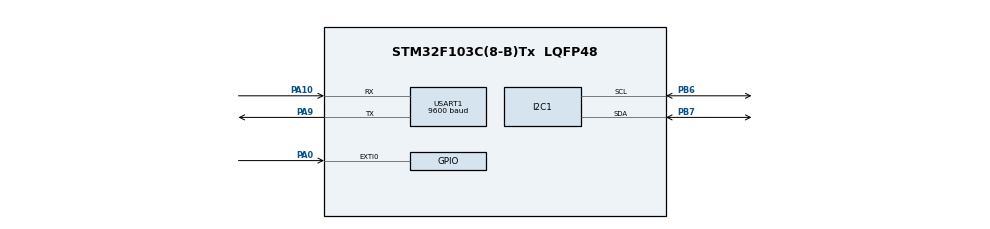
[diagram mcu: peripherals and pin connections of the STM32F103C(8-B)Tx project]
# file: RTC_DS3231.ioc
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Mcu.Family=STM32F1
Mcu.Name=STM32F103C(8-B)Tx
Mcu.Package=LQFP48
NVIC.I2C1_ER_IRQn=true\:0\:0\:false\:false\:true\:true
NVIC.I2C1_EV_IRQn=true\:0\:0\:false\:false\:true\:true
NVIC.PriorityGroup=NVIC_PRIORITYGROUP_4
NVIC.USART1_IRQn=true\:0\:0\:false\:false\:true\:true
PA0-WKUP.GPIO_ModeDefaultEXTI=GPIO_MODE_IT_FALLING
PA0-WKUP.GPIO_PuPd=GPIO_PULLUP
PA0-WKUP.Signal=GPXTI0
PA10.Mode=Asynchronous
PA10.Signal=USART1_RX
PA13.Mode=Serial_Wire
PA13.Signal=SYS_JTMS-SWDIO
PA14.Mode=Serial_Wire
PA14.Signal=SYS_JTCK-SWCLK
PA9.Mode=Asynchronous
PA9.Signal=USART1_TX
PB6.Mode=I2C
PB6.Signal=I2C1_SCL
PB7.Mode=I2C
PB7.Signal=I2C1_SDA
ProjectManager.HeapSize=0x200
ProjectManager.StackSize=0x400
ProjectManager.TargetToolchain=MDK-ARM V5
RCC.APB1Freq_Value=8000000
RCC.APB2Freq_Value=8000000
USART1.BaudRate=9600
USART1.VirtualMode=VM_ASYNC
board=RTC_DS3231

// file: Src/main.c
/**
  ******************************************************************************
  * @file           : main.c
  * @brief          : Main program body
  ******************************************************************************
  ** This notice applies to any and all portions of this file
  * that are not between comment pairs USER CODE BEGIN and
  * USER CODE END. Other portions of this file, whether
  * inserted by the user or by software development tools
  * are owned by their respective copyright owners.
  *
  * COPYRIGHT(c) 2018 STMicroelectronics
  *
  * Redistribution and use in source and binary forms, with or without modification,
  * are permitted provided that the following conditions are met:
  *   1. Redistributions of source code must retain the above copyright notice,
  *      this list of conditions and the following disclaimer.
  *   2. Redistributions in binary form must reproduce the above copyright notice,
  *      this list of conditions and the following disclaimer in the documentation
  *      and/or other materials provided with the distribution.
  *   3. Neither the name of STMicroelectronics nor the names of its contributors
  *      may be used to endorse or promote products derived from this software
  *      without specific prior written permission.
  *
  * THIS SOFTWARE IS PROVIDED BY THE COPYRIGHT HOLDERS AND CONTRIBUTORS "AS IS"
  * AND ANY EXPRESS OR IMPLIED WARRANTIES, INCLUDING, BUT NOT LIMITED TO, THE
  * IMPLIED WARRANTIES OF MERCHANTABILITY AND FITNESS FOR A PARTICULAR PURPOSE ARE
  * DISCLAIMED. IN NO EVENT SHALL THE COPYRIGHT HOLDER OR CONTRIBUTORS BE LIABLE
  * FOR ANY DIRECT, INDIRECT, INCIDENTAL, SPECIAL, EXEMPLARY, OR CONSEQUENTIAL
  * DAMAGES (INCLUDING, BUT NOT LIMITED TO, PROCUREMENT OF SUBSTITUTE GOODS OR
  * SERVICES; LOSS OF USE, DATA, OR PROFITS; OR BUSINESS INTERRUPTION) HOWEVER
  * CAUSED AND ON ANY THEORY OF LIABILITY, WHETHER IN CONTRACT, STRICT LIABILITY,
  * OR TORT (INCLUDING NEGLIGENCE OR OTHERWISE) ARISING IN ANY WAY OUT OF THE USE
  * OF THIS SOFTWARE, EVEN IF ADVISED OF THE POSSIBILITY OF SUCH DAMAGE.
  *
  ******************************************************************************
  */
#include "main.h"
#include "stm32f1xx_hal.h"
#include <stdbool.h>
/* USER CODE BEGIN Includes */
#include "RTC.h"
/* USER CODE END Includes */

I2C_HandleTypeDef hi2c1;
UART_HandleTypeDef huart1;

/* USER CODE BEGIN PV */
/* Private variables ---------------------------------------------------------*/
extern DS3231_t DS3231;
DS3231Control check;
DS3231AlarmTime alarm1;
char array[50];
uint8_t ahour_var=0,amin_var=0;
uint8_t a1_min=0,a1_hour=0;
uint8_t control = 0;
uint8_t status = 0;
float temperature = 0;
/* USER CODE END PV */

void SystemClock_Config(void);
static void MX_GPIO_Init(void);
static void MX_I2C1_Init(void);
static void MX_USART1_UART_Init(void);

/* USER CODE BEGIN PFP */
/* Private function prototypes -----------------------------------------------*/

/* USER CODE END PFP */

int main(void)
{

  /* MCU Configuration----------------------------------------------------------*/

  /* Reset of all peripherals, Initializes the Flash interface and the Systick. */
  HAL_Init();

  /* Configure the system clock */
  SystemClock_Config();

  /* Initialize all configured peripherals */
  MX_GPIO_Init();
  MX_I2C1_Init();
  MX_USART1_UART_Init();
  /* USER CODE BEGIN 2 */
	RTC_SetTime(23,57,30,2,8,18);
	RTC_SetAlarm1(0,23,58,0,DS3231_MATCH_H_M_S,true);
	RTC_GetControl();
	HAL_Delay(5000);
	//I2C_WriteByte(hi2c1,(uint16_t)0xD0,0x0E, RTC_DEC2BCD(5));
  /* USER CODE END 2 */

  /* Infinite loop */
  /* USER CODE BEGIN WHILE */
  while (1)
  {
	RTC_GetTime();
	printf(" %d-%d-%d", DS3231.date, DS3231.month, DS3231.year);
	printf(" %d:%d:%d\r\n", DS3231.hour, DS3231.min, DS3231.sec);
	RTC_GetAlarm1();
	check = RTC_GetControl();
	if(check.status == 1){
	RTC_SetAlarm1(0,23,59,0,DS3231_MATCH_H_M_S,true);
}
	temperature = RTC_readTemperature();
	printf("Nhiet do: %0.2f\r\n",temperature);
	HAL_Delay(1000);

  /* USER CODE END WHILE */

  }

}

void SystemClock_Config(void)
{

  RCC_OscInitTypeDef RCC_OscInitStruct;
  RCC_ClkInitTypeDef RCC_ClkInitStruct;

    /**Initializes the CPU, AHB and APB busses clocks
    */
  RCC_OscInitStruct.OscillatorType = RCC_OSCILLATORTYPE_HSI;
  RCC_OscInitStruct.HSIState = RCC_HSI_ON;
  RCC_OscInitStruct.HSICalibrationValue = 16;
  RCC_OscInitStruct.PLL.PLLState = RCC_PLL_NONE;
  if (HAL_RCC_OscConfig(&RCC_OscInitStruct) != HAL_OK)
  {
    _Error_Handler(__FILE__, __LINE__);
  }

    /**Initializes the CPU, AHB and APB busses clocks
    */
  RCC_ClkInitStruct.ClockType = RCC_CLOCKTYPE_HCLK|RCC_CLOCKTYPE_SYSCLK
                              |RCC_CLOCKTYPE_PCLK1|RCC_CLOCKTYPE_PCLK2;
  RCC_ClkInitStruct.SYSCLKSource = RCC_SYSCLKSOURCE_HSI;
  RCC_ClkInitStruct.AHBCLKDivider = RCC_SYSCLK_DIV1;
  RCC_ClkInitStruct.APB1CLKDivider = RCC_HCLK_DIV1;
  RCC_ClkInitStruct.APB2CLKDivider = RCC_HCLK_DIV1;

  if (HAL_RCC_ClockConfig(&RCC_ClkInitStruct, FLASH_LATENCY_0) != HAL_OK)
  {
    _Error_Handler(__FILE__, __LINE__);
  }

    /**Configure the Systick interrupt time
    */
  HAL_SYSTICK_Config(HAL_RCC_GetHCLKFreq()/1000);

    /**Configure the Systick
    */
  HAL_SYSTICK_CLKSourceConfig(SYSTICK_CLKSOURCE_HCLK);

  /* SysTick_IRQn interrupt configuration */
  HAL_NVIC_SetPriority(SysTick_IRQn, 0, 0);
}

/* I2C1 init function */
static void MX_I2C1_Init(void)
{

  hi2c1.Instance = I2C1;
  hi2c1.Init.ClockSpeed = 100000;
  hi2c1.Init.DutyCycle = I2C_DUTYCYCLE_2;
  hi2c1.Init.OwnAddress1 = 0;
  hi2c1.Init.AddressingMode = I2C_ADDRESSINGMODE_7BIT;
  hi2c1.Init.DualAddressMode = I2C_DUALADDRESS_DISABLE;
  hi2c1.Init.OwnAddress2 = 0;
  hi2c1.Init.GeneralCallMode = I2C_GENERALCALL_DISABLE;
  hi2c1.Init.NoStretchMode = I2C_NOSTRETCH_DISABLE;
  if (HAL_I2C_Init(&hi2c1) != HAL_OK)
  {
    _Error_Handler(__FILE__, __LINE__);
  }

}

/* USART1 init function */
static void MX_USART1_UART_Init(void)
{

  huart1.Instance = USART1;
  huart1.Init.BaudRate = 9600;
  huart1.Init.WordLength = UART_WORDLENGTH_8B;
  huart1.Init.StopBits = UART_STOPBITS_1;
  huart1.Init.Parity = UART_PARITY_NONE;
  huart1.Init.Mode = UART_MODE_TX_RX;
  huart1.Init.HwFlowCtl = UART_HWCONTROL_NONE;
  huart1.Init.OverSampling = UART_OVERSAMPLING_16;
  if (HAL_UART_Init(&huart1) != HAL_OK)
  {
    _Error_Handler(__FILE__, __LINE__);
  }

}

/** Configure pins as
        * Analog
        * Input
        * Output
        * EVENT_OUT
        * EXTI
*/
static void MX_GPIO_Init(void)
{

  GPIO_InitTypeDef GPIO_InitStruct;

  /* GPIO Ports Clock Enable */
  __HAL_RCC_GPIOA_CLK_ENABLE();
  __HAL_RCC_GPIOB_CLK_ENABLE();

  /*Configure GPIO pin : PA0 */
  GPIO_InitStruct.Pin = GPIO_PIN_0;
  GPIO_InitStruct.Mode = GPIO_MODE_IT_FALLING;
  GPIO_InitStruct.Pull = GPIO_PULLUP;
  HAL_GPIO_Init(GPIOA, &GPIO_InitStruct);

}

/* USER CODE BEGIN 4 */
#ifdef __GNUC__
  /* With GCC/RAISONANCE, small printf (option LD Linker->Libraries->Small printf
     set to 'Yes') calls __io_putchar() */
  #define PUTCHAR_PROTOTYPE int __io_putchar(int ch)
#else
  #define PUTCHAR_PROTOTYPE int fputc(int ch, FILE *f)
#endif /* __GNUC__ */
/*
  *
  * @brief  Retargets the C library printf function to the USART.
  * @param  None
  * @retval None
  */
PUTCHAR_PROTOTYPE
{
    /* Place your implementation of fputc here */
    /* e.g. write a character to the USART */
    HAL_UART_Transmit(&huart1, (uint8_t *)&ch, 1, 100);
    return ch;
}
/* USER CODE END 4 */

void _Error_Handler(char *file, int line)
{
  while(1)
  {
  }
}

/************************ (C) COPYRIGHT STMicroelectronics *****END OF FILE****/
